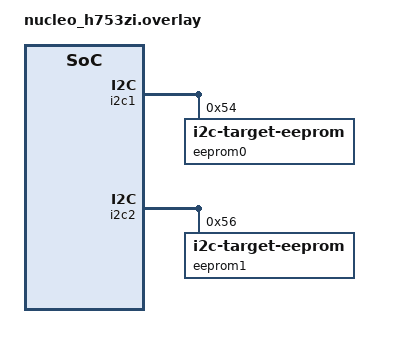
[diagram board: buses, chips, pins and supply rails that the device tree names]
/*
 * SPDX-License-Identifier: Apache-2.0
 *
 * Copyright (c) 2025 STMicroelectronics
 *
 */

/* I2C bus pins are exposed on the ST morpho header.
 *
 *  Bus        SDA               SCL
 *          Pin   Hdr         Pin   Hdr
 *  i2c1    PB9   CN7:4      PB8   CN7:2
 *  i2c2    PB11  CN10:34    PB10  CN10:32
 *
 * Short Pin PB9 to PB11, and PB8 to PB10, for the test to pass.
 */

&i2c1 {
	dmas = <&dmamux1 2 34 (STM32_DMA_PERIPH_TX | STM32_DMA_PRIORITY_HIGH)>,
	       <&dmamux1 1 33 (STM32_DMA_PERIPH_RX | STM32_DMA_PRIORITY_HIGH)>;
	dma-names = "tx", "rx";

	eeprom0: eeprom@54 {
		compatible = "zephyr,i2c-target-eeprom";
		reg = <0x54>;
		size = <256>;
	};
};

&i2c2 {
	dmas = <&dmamux1 4 36 (STM32_DMA_PERIPH_TX | STM32_DMA_PRIORITY_HIGH)>,
	       <&dmamux1 3 35 (STM32_DMA_PERIPH_RX | STM32_DMA_PRIORITY_HIGH)>;
	dma-names = "tx", "rx";

	eeprom1: eeprom@56 {
		compatible = "zephyr,i2c-target-eeprom";
		reg = <0x56>;
		size = <256>;
	};
};

&dma1 {
	status = "okay";
};

&dma2 {
	status = "okay";
};

&dmamux1 {
	status = "okay";
};
